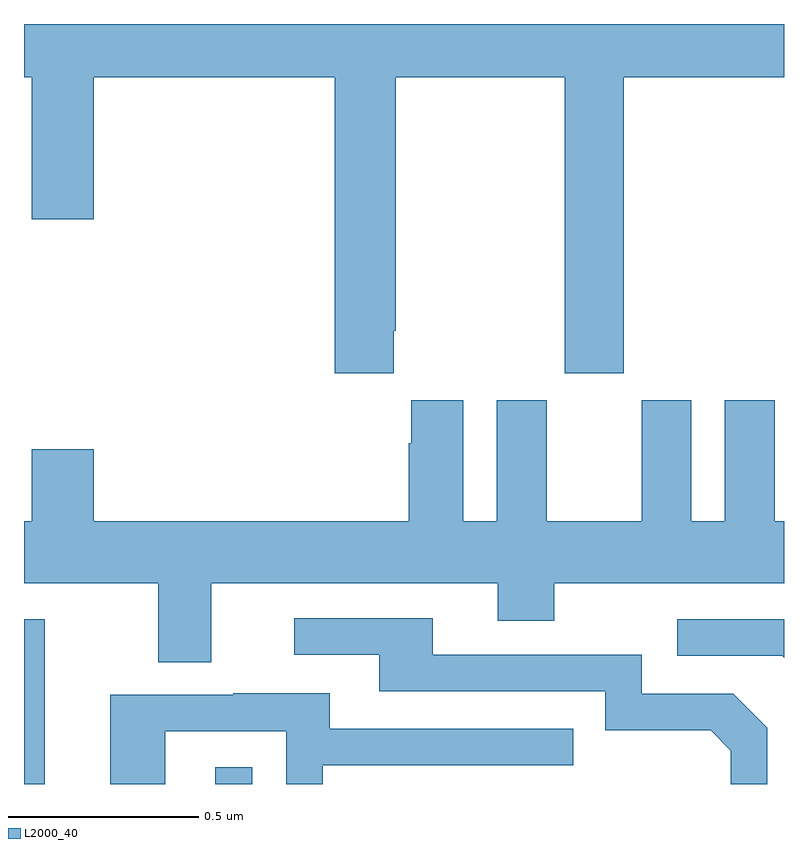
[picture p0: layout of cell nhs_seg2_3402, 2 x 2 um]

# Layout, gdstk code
import gdstk
lib = gdstk.Library(unit=1e-6, precision=1e-09)
def R(c, l, rs):  # rectangles x0, y0, x1, y1
    for r in rs: c.add(gdstk.rectangle(r[:2], r[2:], *l))
def P(c, l, *ps):  # polygons
    for p in ps: c.add(gdstk.Polygon(p, *l))
L2000_40 = (2000, 40)

nhs_seg2_3402 = lib.new_cell('nhs_seg2_3402')
R(nhs_seg2_3402, L2000_40, [(153,621.8,153.055,622.233), (153.503,621.8,153.6,621.844)])
P(nhs_seg2_3402, L2000_40, [(153.973,622.993),(153.978,622.993),(153.978,623.66),(154.423,623.66),(154.423,622.881),(154.578,622.881),(154.578,623.66),(155,623.66),(155,623.8),(153,623.8),(153,623.66),(153.02,623.66),(153.02,623.286),(153.184,623.286),(153.184,623.66),(153.818,623.66),(153.818,622.881),(153.973,622.881)],
  [(154.244,622.492),(154.156,622.492),(154.156,622.81),(154.019,622.81),(154.019,622.697),(154.013,622.697),(154.013,622.492),(153.184,622.492),(153.184,622.681),(153.02,622.681),(153.02,622.492),(153,622.492),(153,622.328),(153.353,622.328),(153.353,622.12),(153.493,622.12),(153.493,622.328),(154.247,622.328),(154.247,622.229),(154.395,622.229),(154.395,622.328),(155,622.328),(155,622.492),(154.975,622.492),(154.975,622.81),(154.844,622.81),(154.844,622.492),(154.756,622.492),(154.756,622.81),(154.625,622.81),(154.625,622.492),(154.375,622.492),(154.375,622.81),(154.244,622.81)],
  [(154.956,621.948),(154.866,622.038),(154.626,622.038),(154.626,622.14),(154.075,622.14),(154.075,622.236),(153.711,622.236),(153.711,622.14),(153.935,622.14),(153.935,622.044),(154.53,622.044),(154.53,621.941),(154.807,621.941),(154.86,621.888),(154.86,621.8),(154.956,621.8)],
  [(155,622.233),(154.719,622.233),(154.719,622.137),(154.995,622.137),(155,622.132)],
  [(153.372,621.939),(153.69,621.939),(153.69,621.8),(153.786,621.8),(153.786,621.849),(154.445,621.849),(154.445,621.945),(153.805,621.945),(153.805,622.039),(153.551,622.039),(153.551,622.035),(153.227,622.035),(153.227,621.8),(153.372,621.8)])

lib.write_gds('nhs_seg2_3402.gds')
